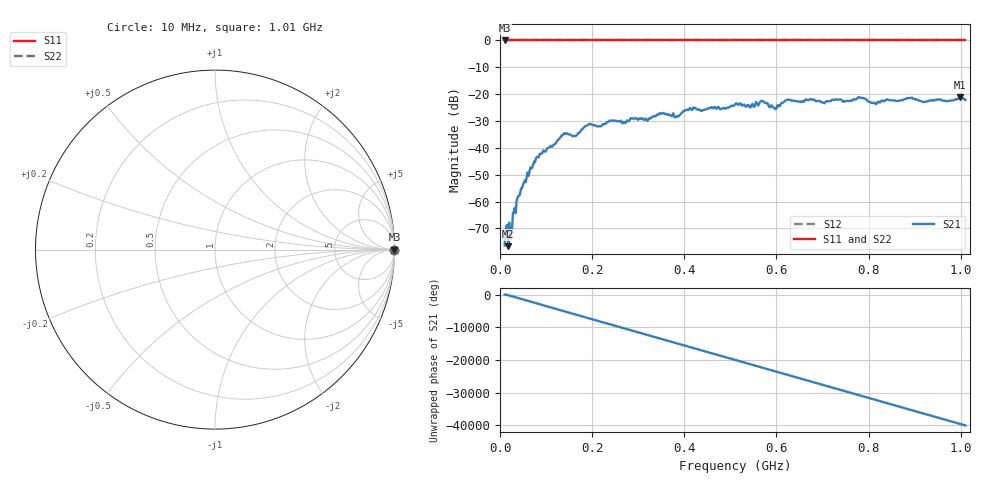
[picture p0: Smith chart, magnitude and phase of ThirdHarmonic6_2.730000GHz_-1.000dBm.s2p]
! 8/17/2025 6:42:41 AM
! C:\ANRITSUVNA\TEMP\TEMP.S2P
! CHANNEL.1
! TR.MEASUREMENT
! RAW.DATA
! RF.CORRECTION.OFF
! AVERAGING.OFF
! IF.BANDWIDTH: 5KHZ
! SWEEPTYPE:  FREQ.SWEEP(Linear)
! Reference Plane Port Info
! PORT:  PORT1  PORT2
! DISTANCE:  0  m  0  m
! TIME:  0  s  0  s
! PHASE.OFFSET:  0  deg.  0  deg.
! LOSS:  0  dB  0  dB
! REF.LOSS:  0  dB  0  dB
! REF.FREQ:  0  Hz  0  Hz
! Power Info
! POWER:  -20  dBm  -20  dBm
! EFF.POWER:  -20  dBm  -20  dBm
! SOURCE.ATTEN:  0  dB  0  dB
! TEST.ATTEN:  0  dB  0  dB
# GHZ S RI R 50.0
! FREQ.GHZ  S11RE  S11IM  S21RE  S21IM  S12RE  S12IM  S22RE  S22IM
!; PortSelection: Port_12
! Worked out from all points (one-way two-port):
!   501 points, 10 MHz to 1.01 GHz, reference 50 ohm
!   highest |S21| = -21.10 dB at 998 MHz (marker M1); lowest = -76.6 dB at 18 MHz (marker M2)
!   lowest |S11| = 0.0 dB at 10 MHz (marker M3)
!   |S11| at or under -10 dB: nowhere
!   |S22| runs from 0.0 to 0.0 dB; largest |S21 - S12| = 1.1
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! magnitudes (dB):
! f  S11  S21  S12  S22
! 10 MHz  0.0  -76.4  0.0  0.0
! 18 MHz  0.0  -76.6  0.0  0.0
! 22 MHz  0.0  -74.4  0.0  0.0
! 32 MHz  0.0  -62.4  0.0  0.0
! 42 MHz  0.0  -57.8  0.0  0.0
! 78 MHz  0.0  -43.9  0.0  0.0
! 138 MHz  0.0  -34.8  0.0  0.0
! 162 MHz  0.0  -35.5  0.0  0.0
! 178 MHz  0.0  -33.1  0.0  0.0
! 194 MHz  0.0  -31.2  0.0  0.0
! 322 MHz  0.0  -29.3  0.0  0.0
! 344 MHz  0.0  -27.6  0.0  0.0
! 382 MHz  0.0  -28.4  0.0  0.0
! 410 MHz  0.0  -25.8  0.0  0.0
! 510 MHz  0.0  -23.8  0.0  0.0
! 570 MHz  0.0  -22.6  0.0  0.0
! 596 MHz  0.0  -25.1  0.0  0.0
! 624 MHz  0.0  -22.1  0.0  0.0
! 678 MHz  0.0  -22.1  0.0  0.0
! 844 MHz  0.0  -22.2  0.0  0.0
! 998 MHz  0.0  -21.1  0.0  0.0
! 1.01 GHz  0.0  -22.1  0.0  0.0
